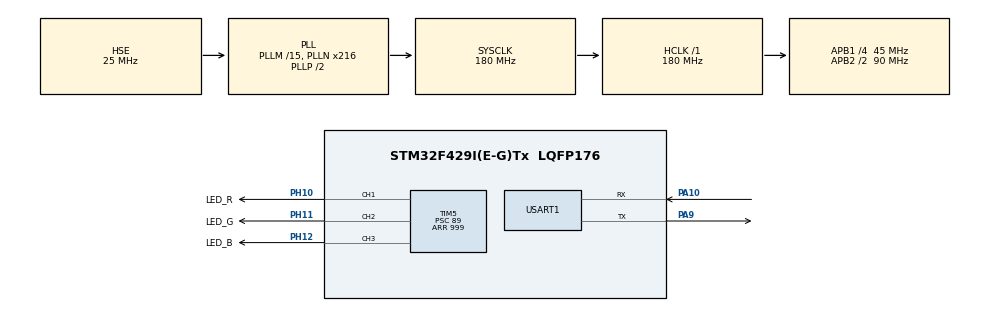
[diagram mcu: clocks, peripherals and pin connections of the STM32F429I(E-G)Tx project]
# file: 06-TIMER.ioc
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Mcu.Family=STM32F4
Mcu.Name=STM32F429I(E-G)Tx
Mcu.Package=LQFP176
NVIC.PriorityGroup=NVIC_PRIORITYGROUP_4
NVIC.TIM5_IRQn=true\:0\:0\:false\:false\:true\:true\:true\:true
NVIC.TIM6_DAC_IRQn=true\:0\:0\:false\:false\:true\:true\:true\:true
NVIC.USART1_IRQn=true\:0\:0\:false\:false\:true\:true\:true\:true
PA10.Mode=Asynchronous
PA10.Signal=USART1_RX
PA9.Mode=Asynchronous
PA9.Signal=USART1_TX
PH0/OSC_IN.Mode=HSE-External-Oscillator
PH0/OSC_IN.Signal=RCC_OSC_IN
PH1/OSC_OUT.Mode=HSE-External-Oscillator
PH1/OSC_OUT.Signal=RCC_OSC_OUT
PH10.GPIO_Label=LED_R
PH10.GPIO_PuPd=GPIO_PULLUP
PH10.GPIO_Speed=GPIO_SPEED_FREQ_HIGH
PH10.Signal=S_TIM5_CH1
PH11.GPIO_Label=LED_G
PH11.GPIO_PuPd=GPIO_PULLUP
PH11.GPIO_Speed=GPIO_SPEED_FREQ_HIGH
PH11.Signal=S_TIM5_CH2
PH12.GPIO_Label=LED_B
PH12.GPIO_PuPd=GPIO_PULLUP
PH12.GPIO_Speed=GPIO_SPEED_FREQ_HIGH
PH12.Signal=S_TIM5_CH3
ProjectManager.HeapSize=0x200
ProjectManager.StackSize=0x400
ProjectManager.TargetToolchain=STM32CubeIDE
RCC.48MHZClocksFreq_Value=90000000
RCC.AHBFreq_Value=180000000
RCC.APB1CLKDivider=RCC_HCLK_DIV4
RCC.APB1Freq_Value=45000000
RCC.APB1TimFreq_Value=90000000
RCC.APB2CLKDivider=RCC_HCLK_DIV2
RCC.APB2Freq_Value=90000000
RCC.APB2TimFreq_Value=180000000
RCC.CortexFreq_Value=180000000
RCC.HCLKFreq_Value=180000000
RCC.HSE_VALUE=25000000
RCC.HSI_VALUE=16000000
RCC.LSE_VALUE=32768
RCC.PLLM=15
RCC.PLLN=216
RCC.PLLSourceVirtual=RCC_PLLSOURCE_HSE
RCC.SYSCLKFreq_VALUE=180000000
RCC.SYSCLKSource=RCC_SYSCLKSOURCE_PLLCLK
RCC.VCOOutputFreq_Value=360000000
SH.S_TIM5_CH1.0=TIM5_CH1,PWM Generation1 CH1
SH.S_TIM5_CH2.0=TIM5_CH2,PWM Generation2 CH2
SH.S_TIM5_CH3.0=TIM5_CH3,PWM Generation3 CH3
TIM5.AutoReloadPreload=TIM_AUTORELOAD_PRELOAD_ENABLE
TIM5.Channel-PWM\ Generation1\ CH1=TIM_CHANNEL_1
TIM5.Channel-PWM\ Generation2\ CH2=TIM_CHANNEL_2
TIM5.Channel-PWM\ Generation3\ CH3=TIM_CHANNEL_3
TIM5.OCPolarity_1=TIM_OCPOLARITY_LOW
TIM5.OCPolarity_2=TIM_OCPOLARITY_LOW
TIM5.OCPolarity_3=TIM_OCPOLARITY_LOW
TIM5.Period=999
TIM5.Prescaler=89
TIM6.AutoReloadPreload=TIM_AUTORELOAD_PRELOAD_ENABLE
TIM6.Period=49
TIM6.Prescaler=17999
USART1.VirtualMode=VM_ASYNC
USART1.WordLength=WORDLENGTH_8B
VP_TIM5_VS_ClockSourceINT.Mode=Internal
VP_TIM6_VS_ClockSourceINT.Mode=Enable_Timer
board=custom

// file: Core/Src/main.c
/* USER CODE BEGIN Header */
/**
  ******************************************************************************
  * @file           : main.c
  * @brief          : Main program body
  ******************************************************************************
  * @attention
  *
  * Copyright (c) 2023 STMicroelectronics.
  * All rights reserved.
  *
  * This software is licensed under terms that can be found in the LICENSE file
  * in the root directory of this software component.
  * If no LICENSE file comes with this software, it is provided AS-IS.
  *
  ******************************************************************************
  */
/* USER CODE END Header */
#include "main.h"
#include "tim.h"
#include "usart.h"
#include "gpio.h"

/* USER CODE BEGIN Includes */
#include "printf.h"
#include "common_types.h"
#include "uart_buffer_interface.h"
#include "LED.h"

#include <string.h>
/* USER CODE END Includes */

/* USER CODE BEGIN PD */
#define LED_R_CHANNEL TIM_CHANNEL_1
#define LED_G_CHANNEL TIM_CHANNEL_2
#define LED_B_CHANNEL TIM_CHANNEL_3
#define RGB_FACTOR (htim5.Init.Period / 255)
/* USER CODE END PD */

/* USER CODE BEGIN PM */
#define MAX_TX_SIZE 64  // 串口单次发送数据的最大字节数
#define MAX_RX_SIZE 16  // 串口单次接收数据的最大字节数
/* USER CODE END PM */

/* USER CODE BEGIN PV */
void *TX_BUF, *RX_BUF;

char uart_tx_data[MAX_TX_SIZE];
uint8_t uart_rx_data[MAX_RX_SIZE];

uint8_t str_interval[MAX_TX_SIZE];

int pattern = 3;
uint8_t cnt = 0;     // 模式1
uint8_t idx_seq;     // 模式1、2中, RGB序列下标
uint8_t R_value = 0; // 模式3
int flag_inc = 1;    // 标志位: 0-RGB值递减, 1-RGB值递增
/* USER CODE END PV */

void SystemClock_Config(void);

/* USER CODE BEGIN PFP */
void parse_cmd(); // 解析命令
void set_pattern(int mode); // 设置运行模式
void set_speed(const uint8_t *digits, int len); // 设置速度
/* USER CODE END PFP */

/* USER CODE BEGIN 0 */
void HAL_TIM_PeriodElapsedCallback(TIM_HandleTypeDef *htim) {
    if (htim == &htim6) { // 判断中断来源
        switch (pattern) { // 根据不同模式设置对应LED
            case 1:
                __HAL_TIM_SET_COMPARE(&htim5, LED_R_CHANNEL, rgb_seq_p1[idx_seq].R * RGB_FACTOR);
                __HAL_TIM_SET_COMPARE(&htim5, LED_G_CHANNEL, rgb_seq_p1[idx_seq].G * RGB_FACTOR);
                __HAL_TIM_SET_COMPARE(&htim5, LED_B_CHANNEL, rgb_seq_p1[idx_seq].B * RGB_FACTOR);
                idx_seq = (idx_seq + 1) % len_seq_p1;
                break;
            case 2:
                __HAL_TIM_SET_COMPARE(&htim5, LED_R_CHANNEL, rgb_seq_p2[idx_seq].R * RGB_FACTOR);
                __HAL_TIM_SET_COMPARE(&htim5, LED_G_CHANNEL, rgb_seq_p2[idx_seq].G * RGB_FACTOR);
                __HAL_TIM_SET_COMPARE(&htim5, LED_B_CHANNEL, rgb_seq_p2[idx_seq].B * RGB_FACTOR);
                idx_seq = (idx_seq + 1) % len_seq_p2;
                break;
            case 3:
                if (flag_inc) R_value++;
                else R_value--;

                if (R_value == 0 || R_value == 255)
                    flag_inc ^= 1;

                __HAL_TIM_SET_COMPARE(&htim5, LED_R_CHANNEL, R_value * RGB_FACTOR);
            default:
                break;
        }
    }
}

void UART_Transmit(UART_HandleTypeDef *huart, const uint8_t *pData, uint16_t Size) {
    UART_Buffer_pushBytes(TX_BUF, pData, Size);
    if (huart->gState == HAL_UART_STATE_READY)
        HAL_UART_Transmit_IT(huart, pData, Size);
}

void HAL_UART_TxCpltCallback(UART_HandleTypeDef *huart) {
    if (huart == &huart1) {
        // 1. 删除队首元素
        UART_Buffer_pop(TX_BUF);
        // 2. 继续发送数据
        if (!UART_Buffer_isEmpty(TX_BUF)) { // 发送缓冲区非空
            DataBlock_TypeDef *db = UART_Buffer_front(TX_BUF);
            HAL_UART_Transmit_IT(&huart1, db->start, db->size);
        }
    }
}

void HAL_UARTEx_RxEventCallback(UART_HandleTypeDef *huart, uint16_t Size) {
    if (huart == &huart1) {
        // 1. 入队
        UART_Buffer_pushBytes(RX_BUF, uart_rx_data, Size);
        // 2. 再次开启中断
        HAL_UARTEx_ReceiveToIdle_IT(&huart1, uart_rx_data, MAX_RX_SIZE);
    }
}

void parse_cmd() { // 解析命令
    DataBlock_TypeDef *db = UART_Buffer_front(RX_BUF);
    uint8_t *cmd = db->start;

    switch (cmd[0]) {
        case 'p':
            set_pattern(cmd[1] - '0');
            break;
        case 's':
            set_speed(cmd + 1, db->size - 1);
            memcpy(str_interval, cmd + 1, db->size - 1);
            break;
        default:
            break;
    }

    UART_Buffer_pop(RX_BUF);

    // 回写当前工作状态: 模式 + 速度, 发送数据模板: pattern:%d interval: %dms
    // 计算LED变换间隔, 单位ms
    sprintf(uart_tx_data, "pattern: %d, interval: %sms", pattern, str_interval);
    UART_Transmit(&huart1, (uint8_t *) uart_tx_data, strlen(uart_tx_data));
}

void set_pattern(int mode) {
    switch (mode) {
        case 1:
            pattern = 1;
            __disable_irq();
            idx_seq = 0;
            __enable_irq();
            break;
        case 2:
            pattern = 2;
            __disable_irq();
            idx_seq = 0;
            __enable_irq();
            break;
        case 3:
            pattern = 3;
            __HAL_TIM_SET_COMPARE(&htim5, LED_R_CHANNEL, 0);
            __HAL_TIM_SET_COMPARE(&htim5, LED_G_CHANNEL, 0);
            __HAL_TIM_SET_COMPARE(&htim5, LED_B_CHANNEL, 0);
            __disable_irq();
            cnt = 0;
            flag_inc = 1;
            __enable_irq();
            break;
        default:
            break;
    }
}

void set_speed(const uint8_t *digits, int len) { // digits为需要设置的间隔(单位为ms)的字符串, len为该字符串长度
    int interval = 0;
    for (int i = 0; i < len; i++) {
        interval *= 10;
        interval += digits[i] - '0';
    }
    // 重新设置tim6的period, 即自动重载值autoreload value
    __HAL_TIM_SET_AUTORELOAD(&htim6, interval * 10 - 1);
}
/* USER CODE END 0 */

int main(void) {

    /* USER CODE BEGIN 1 */
    TX_BUF = UART_Buffer_Create();
    RX_BUF = UART_Buffer_Create();
    /* USER CODE END 1 */

    /* MCU Configuration--------------------------------------------------------*/

    /* Reset of all peripherals, Initializes the Flash interface and the Systick. */
    HAL_Init();

    /* Configure the system clock */
    SystemClock_Config();

    /* Initialize all configured peripherals */
    MX_GPIO_Init();
    MX_TIM5_Init();
    MX_USART1_UART_Init();
    MX_TIM6_Init();
    /* USER CODE BEGIN 2 */
    // 开启串口空闲中断, stm32会在接收Size字节或空闲时产生中断
    HAL_UARTEx_ReceiveToIdle_IT(&huart1, uart_rx_data, MAX_RX_SIZE);
    HAL_TIM_Base_Start(&htim5); // 通用定时器, 输出PWM控制LED
    HAL_TIM_Base_Start_IT(&htim6); // 基本定时器, 产生中断, 在终端中调节PWM
    HAL_TIM_PWM_Start(&htim5, LED_R_CHANNEL);
    HAL_TIM_PWM_Start(&htim5, LED_G_CHANNEL);
    HAL_TIM_PWM_Start(&htim5, LED_B_CHANNEL);
    /* USER CODE END 2 */

    /* Infinite loop */
    /* USER CODE BEGIN WHILE */
    while (1) {
        if (!UART_Buffer_isEmpty(RX_BUF)) // 等待命令到来
            parse_cmd(); // 非阻塞式
        /* USER CODE END WHILE */

    }
}

void SystemClock_Config(void) {
    RCC_OscInitTypeDef RCC_OscInitStruct = {0};
    RCC_ClkInitTypeDef RCC_ClkInitStruct = {0};

    /** Configure the main internal regulator output voltage
    */
    __HAL_RCC_PWR_CLK_ENABLE();
    __HAL_PWR_VOLTAGESCALING_CONFIG(PWR_REGULATOR_VOLTAGE_SCALE1);

    /** Initializes the RCC Oscillators according to the specified parameters
    * in the RCC_OscInitTypeDef structure.
    */
    RCC_OscInitStruct.OscillatorType = RCC_OSCILLATORTYPE_HSE;
    RCC_OscInitStruct.HSEState = RCC_HSE_ON;
    RCC_OscInitStruct.PLL.PLLState = RCC_PLL_ON;
    RCC_OscInitStruct.PLL.PLLSource = RCC_PLLSOURCE_HSE;
    RCC_OscInitStruct.PLL.PLLM = 15;
    RCC_OscInitStruct.PLL.PLLN = 216;
    RCC_OscInitStruct.PLL.PLLP = RCC_PLLP_DIV2;
    RCC_OscInitStruct.PLL.PLLQ = 4;
    if (HAL_RCC_OscConfig(&RCC_OscInitStruct) != HAL_OK) {
        Error_Handler();
    }

    /** Activate the Over-Drive mode
    */
    if (HAL_PWREx_EnableOverDrive() != HAL_OK) {
        Error_Handler();
    }

    /** Initializes the CPU, AHB and APB buses clocks
    */
    RCC_ClkInitStruct.ClockType = RCC_CLOCKTYPE_HCLK | RCC_CLOCKTYPE_SYSCLK
                                  | RCC_CLOCKTYPE_PCLK1 | RCC_CLOCKTYPE_PCLK2;
    RCC_ClkInitStruct.SYSCLKSource = RCC_SYSCLKSOURCE_PLLCLK;
    RCC_ClkInitStruct.AHBCLKDivider = RCC_SYSCLK_DIV1;
    RCC_ClkInitStruct.APB1CLKDivider = RCC_HCLK_DIV4;
    RCC_ClkInitStruct.APB2CLKDivider = RCC_HCLK_DIV2;

    if (HAL_RCC_ClockConfig(&RCC_ClkInitStruct, FLASH_LATENCY_5) != HAL_OK) {
        Error_Handler();
    }
}

void Error_Handler(void) {
    __disable_irq();
    while (1) {
    }
}
